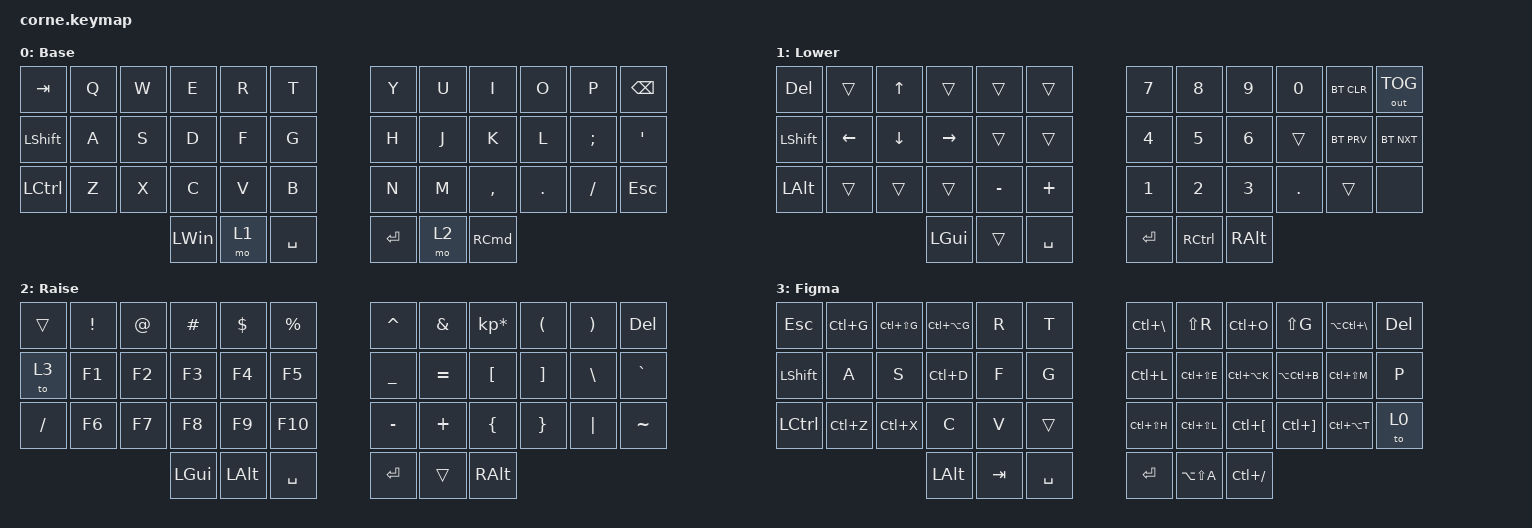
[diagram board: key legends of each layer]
/*
 * Copyright (c) 2020 The ZMK Contributors
 *
 * SPDX-License-Identifier: MIT
 */

#include <behaviors.dtsi>
#include <dt-bindings/zmk/bt.h>
#include <dt-bindings/zmk/keys.h>
#include <dt-bindings/zmk/outputs.h>

/ {
    keymap {
        compatible = "zmk,keymap";

        Base {
            // -----------------------------------------------------------------------------------------
            // |  TAB |  Q  |  W  |  E  |  R  |  T  |   |  Y  |  U   |  I  |  O  |  P  | BKSP |
            // | CTRL |  A  |  S  |  D  |  F  |  G  |   |  H  |  J   |  K  |  L  |  ;  |  '   |
            // | SHFT |  Z  |  X  |  C  |  V  |  B  |   |  N  |  M   |  ,  |  .  |  /  | ESC  |
            //                    | GUI | LWR | SPC |   | ENT | RSE  | ALT |

            label = "Base";
            bindings = <
&kp TAB           &kp Q  &kp W  &kp E         &kp R  &kp T        &kp Y    &kp U  &kp I              &kp O    &kp P     &kp BSPC
&kp LEFT_SHIFT    &kp A  &kp S  &kp D         &kp F  &kp G        &kp H    &kp J  &kp K              &kp L    &kp SEMI  &kp APOS
&kp LEFT_CONTROL  &kp Z  &kp X  &kp C         &kp V  &kp B        &kp N    &kp M  &kp COMMA          &kp DOT  &kp FSLH  &kp ESC
                                &kp LEFT_WIN  &mo 1  &kp SPACE    &kp RET  &mo 2  &kp RIGHT_COMMAND
            >;
        };

        Lower {
            // -----------------------------------------------------------------------------------------
            // |  TAB |  1  |  2  |  3  |  4  |  5  |   |  6  |  7  |  8  |  9  |  0  | BKSP |
            // | BTCLR| BT1 | BT2 | BT3 | BT4 | BT5 |   | LFT | DWN |  UP | RGT |     |      |
            // | SHFT |     |     |     |     |     |   |     |     |     |     |     |      |
            //                    | GUI |     | SPC |   | ENT |     | ALT |

            label = "Lower";
            bindings = <
&kp DELETE    &trans    &kp UP    &trans     &trans     &trans       &kp N7   &kp N8     &kp N9    &kp N0   &bt BT_CLR  &out OUT_TOG
&kp LSHFT     &kp LEFT  &kp DOWN  &kp RIGHT  &trans     &trans       &kp N4   &kp N5     &kp N6    &trans   &bt BT_PRV  &bt BT_NXT
&kp LEFT_ALT  &trans    &trans    &trans     &kp MINUS  &kp PLUS     &kp N1   &kp N2     &kp N3    &kp DOT  &trans      &none
                                  &kp LGUI   &trans     &kp SPACE    &kp RET  &kp RCTRL  &kp RALT
            >;
        };

        Raise {
            // -----------------------------------------------------------------------------------------
            // |  TAB |  !  |  @  |  #  |  $  |  %  |   |  ^  |  &  |  *  |  (  |  )  | BKSP |
            // | CTRL |     |     |     |     |     |   |  -  |  =  |  [  |  ]  |  \  |  `   |
            // | SHFT |     |     |     |     |     |   |  _  |  +  |  {  |  }  | "|" |  ~   |
            //                    | GUI |     | SPC |   | ENT |     | ALT |

            label = "Raise";
            bindings = <
&trans     &kp EXCL  &kp AT  &kp HASH  &kp DLLR      &kp PRCNT    &kp CARET  &kp AMPS   &kp KP_ASTERISK  &kp LPAR  &kp RPAR  &kp DEL
&to 3      &kp F1    &kp F2  &kp F3    &kp F4        &kp F5       &kp UNDER  &kp EQUAL  &kp LBKT         &kp RBKT  &kp BSLH  &kp GRAVE
&kp SLASH  &kp F6    &kp F7  &kp F8    &kp F9        &kp F10      &kp MINUS  &kp PLUS   &kp LBRC         &kp RBRC  &kp PIPE  &kp TILDE
                             &kp LGUI  &kp LEFT_ALT  &kp SPACE    &kp RET    &trans     &kp RALT
            >;
        };

        Figma {
            label = "Figma";
            bindings = <
&kp ESC           &kp LC(G)  &kp LC(LS(G))  &kp LC(LA(G))  &kp R    &kp T        &kp LC(BACKSLASH)  &kp LS(R)      &kp LC(O)             &kp LS(G)              &kp LA(LC(BACKSLASH))  &kp DEL
&kp LSHFT         &kp A      &kp S          &kp LC(D)      &kp F    &kp G        &kp LC(L)          &kp LC(LS(E))  &kp LC(LA(K))         &kp LA(LC(B))          &kp LC(LS(M))          &kp P
&kp LEFT_CONTROL  &kp LC(Z)  &kp LC(X)      &kp C          &kp V    &trans       &kp LC(LS(H))      &kp LC(LS(L))  &kp LC(LEFT_BRACKET)  &kp LC(RIGHT_BRACKET)  &kp LC(LA(T))          &to 0
                                            &kp LEFT_ALT   &kp TAB  &kp SPACE    &kp ENTER          &kp LA(LS(A))  &kp LC(SLASH)
            >;
        };
    };
};
